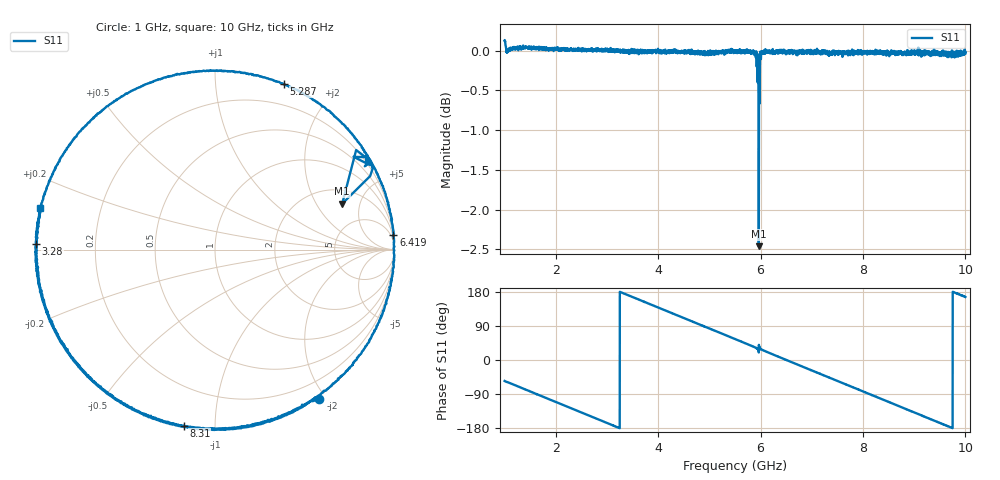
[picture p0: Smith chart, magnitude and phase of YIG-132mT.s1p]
#  HZ  S  RI  R  50.0
! Rohde & Schwarz ZVL13 2Ports - Version 3.31 - 1303.6509k13 SN: 101088
! Date: 2023-03-02 16:59:49
! Data & Calibration Information:
! Trc2:S21(Trans Norm)
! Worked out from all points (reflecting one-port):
!   4000 points, 1 GHz to 10 GHz, reference 50 ohm
!   lowest |S11| = -2.5 dB at 5.965 GHz (marker M1), VSWR 7.11, Z = 144 + j170 ohm
!   phase of S11 starts at -55 deg and turns -498 deg over the sweep
!   S11 on the Smith chart (normalised r, x): 1 GHz: -0.03, -1.91; 3.28 GHz: 0.00, +0.02; 5.287 GHz: 0.00, +1.50; 6.419 GHz: 1, +25; 8.31 GHz: 0.00, -0.84; 10 GHz: 0.00, +0.12
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1e9  0.5777 -0.8344
1.578395e9  0.0456 -1.003
1.850713e9  -0.2171 -0.9797
2.125281e9  -0.4668 -0.8859
2.714929e9  -0.8706 -0.4959
2.980495e9  -0.9679 -0.2571
3.250563e9  -0.9975 0.0029
3.27982e9  -0.9975 0.0313
3.806452e9  -0.8554 0.5143
4.375844e9  -0.4626 0.8858
4.821455e9  -0.049 0.995
5.287322e9  0.3841 0.9229
5.501125e9  0.5694 0.8229
5.831958e9  0.7979 0.5964
5.964741e9  0.7086 0.2555
6.149287e9  0.9411 0.3373
6.419355e9  0.9937 0.0811
6.626407e9  0.9901 -0.1198
6.889722e9  0.9294 -0.3657
7.168792e9  0.7975 -0.6002
7.751688e9  0.3532 -0.9285
8.035259e9  0.0916 -0.9939
8.309827e9  -0.1754 -0.9805
8.582146e9  -0.4268 -0.9026
8.876969e9  -0.662 -0.7466
9.430608e9  -0.9488 -0.3053
9.702926e9  -0.9954 -0.048
1e10  -0.9678 0.2351
